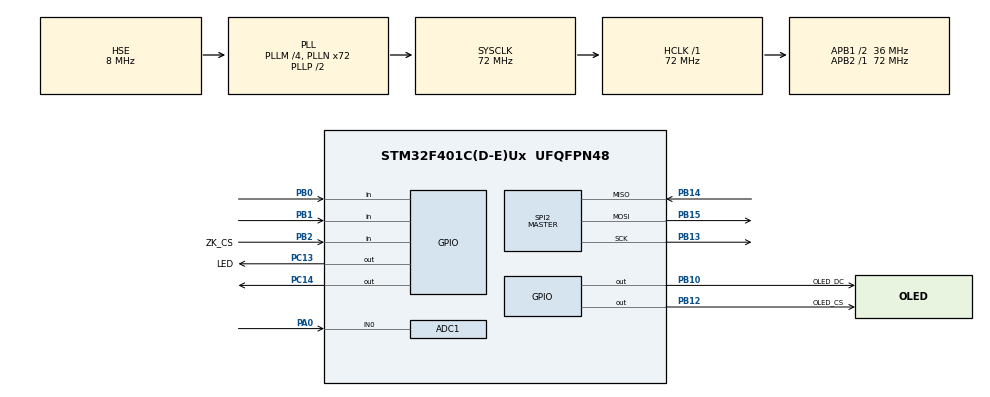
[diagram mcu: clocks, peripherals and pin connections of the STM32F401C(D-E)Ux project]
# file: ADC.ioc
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ADC1.Channel-0\#ChannelRegularConversion=ADC_CHANNEL_0
ADC1.ClockPrescaler=ADC_CLOCK_SYNC_PCLK_DIV4
ADC1.ContinuousConvMode=ENABLE
ADC1.EnableAnalogWatchDog=true
ADC1.HighThreshold=4090
ADC1.NbrOfConversion=1
ADC1.NbrOfConversionFlag=1
ADC1.Rank-0\#ChannelRegularConversion=1
ADC1.Resolution=ADC_RESOLUTION_12B
ADC1.SamplingTime-0\#ChannelRegularConversion=ADC_SAMPLETIME_3CYCLES
ADC1.ScanConvMode=DISABLE
ADC1.master=1
Mcu.Family=STM32F4
Mcu.Name=STM32F401C(D-E)Ux
Mcu.Package=UFQFPN48
NVIC.ADC_IRQn=true\:1\:0\:true\:false\:true\:true\:true
NVIC.PriorityGroup=NVIC_PRIORITYGROUP_4
NVIC.TIM3_IRQn=true\:0\:0\:true\:false\:true\:true\:true
PA0-WKUP.Signal=SharedAnalog_PA0
PA13.Mode=Serial_Wire
PA13.Signal=SYS_JTMS-SWDIO
PA14.Mode=Serial_Wire
PA14.Signal=SYS_JTCK-SWCLK
PB0.GPIO_PuPd=GPIO_PULLUP
PB0.Signal=GPIO_Input
PB1.GPIO_PuPd=GPIO_PULLUP
PB1.Signal=GPIO_Input
PB10.GPIO_Label=OLED_DC
PB10.Signal=GPIO_Output
PB12.GPIO_Label=OLED_CS
PB12.Signal=GPIO_Output
PB13.Mode=Full_Duplex_Master
PB13.Signal=SPI2_SCK
PB14.Mode=Full_Duplex_Master
PB14.Signal=SPI2_MISO
PB15.Mode=Full_Duplex_Master
PB15.Signal=SPI2_MOSI
PB2.GPIO_Label=ZK_CS
PB2.GPIO_PuPd=GPIO_PULLUP
PB2.Signal=GPIO_Input
PC13-ANTI_TAMP.GPIO_Label=LED
PC13-ANTI_TAMP.Signal=GPIO_Output
PC14-OSC32_IN.Signal=GPIO_Output
PH0\ -\ OSC_IN.Mode=HSE-External-Oscillator
PH0\ -\ OSC_IN.Signal=RCC_OSC_IN
PH1\ -\ OSC_OUT.Mode=HSE-External-Oscillator
PH1\ -\ OSC_OUT.Signal=RCC_OSC_OUT
ProjectManager.HeapSize=0x200
ProjectManager.StackSize=0x400
ProjectManager.TargetToolchain=Makefile
RCC.48MHZClocksFreq_Value=36000000
RCC.AHBFreq_Value=72000000
RCC.APB1CLKDivider=RCC_HCLK_DIV2
RCC.APB1Freq_Value=36000000
RCC.APB1TimFreq_Value=72000000
RCC.APB2Freq_Value=72000000
RCC.APB2TimFreq_Value=72000000
RCC.CortexFreq_Value=72000000
RCC.HCLKFreq_Value=72000000
RCC.HSE_VALUE=8000000
RCC.HSI_VALUE=16000000
RCC.LSE_VALUE=32768
RCC.PLLM=4
RCC.PLLN=72
RCC.PLLSourceVirtual=RCC_PLLSOURCE_HSE
RCC.SYSCLKFreq_VALUE=72000000
RCC.SYSCLKSource=RCC_SYSCLKSOURCE_PLLCLK
RCC.VCOOutputFreq_Value=144000000
SH.SharedAnalog_PA0.0=GPIO_Analog
SH.SharedAnalog_PA0.1=ADC1_IN0,IN0
SPI2.BaudRatePrescaler=SPI_BAUDRATEPRESCALER_4
SPI2.Direction=SPI_DIRECTION_2LINES
SPI2.Mode=SPI_MODE_MASTER
SPI2.VirtualType=VM_MASTER
VP_TIM3_VS_ClockSourceITR.Mode=TriggerSource_ITR0
board=custom

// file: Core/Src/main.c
/* USER CODE BEGIN Header */
/**
 ******************************************************************************
 * @file           : main.c
 * @brief          : Main program body
 ******************************************************************************
 * @attention
 *
 * Copyright (c) 2022 STMicroelectronics.
 * All rights reserved.
 *
 * This software is licensed under terms that can be found in the LICENSE file
 * in the root directory of this software component.
 * If no LICENSE file comes with this software, it is provided AS-IS.
 *
 ******************************************************************************
 */
/* USER CODE END Header */
#include "main.h"
#include "adc.h"
#include "spi.h"
#include "tim.h"
#include "gpio.h"

void SystemClock_Config(void);

/* USER CODE BEGIN 0 */
unsigned int Tone[] = {
    // /*do*/ 275, /*ra*/ 244, /*mi*/ 218, /*fa*/ 206, /*suo*/ 184, /*la*/ 184, /*si*/ 163};
    /*do*/ 274, /*ra*/ 244, /*mi*/ 218, /*fa*/ 206, /*suo*/ 183, /*la*/ 163, /*si*/ 145};

/* USER CODE END 0 */

int main(void)
{

  /* MCU Configuration--------------------------------------------------------*/

  /* Reset of all peripherals, Initializes the Flash interface and the Systick. */
  HAL_Init();

  /* Configure the system clock */
  SystemClock_Config();

  /* Initialize all configured peripherals */
  MX_GPIO_Init();
  MX_ADC1_Init();
  MX_SPI2_Init();
  MX_TIM3_Init();
  /* USER CODE BEGIN 2 */
  HAL_ADC_Start_IT(&hadc1);
  HAL_TIM_Base_Start_IT(&htim3);
  InitGraph();
  OLED_Rect1(0, 0, 127, 63);
  // OLED_Circle(25, 32, 20);
  // OLED_Circle(25, 32, 3);
  OLED_UpdateScreen();
  /* USER CODE END 2 */

  /* Infinite loop */
  /* USER CODE BEGIN WHILE */
  int i = 0;
  TIM3->PSC = 1000;
  while (1)
  {
    HAL_GPIO_TogglePin(GPIOC, GPIO_PIN_13);
    HAL_Delay(1);
    // OLED_Circle(25, 32, 20);
    // SetPointBuffer(0, 0, 1);
    for (int j = 0; j < 128; j++)
    {
      i = result;
      SetPointBuffer(j, i / 90, 1);
      OLED_UpdateScreen();
    }
    OLED_ClearScreen();
    /* USER CODE END WHILE */

  }
}

void SystemClock_Config(void)
{
  RCC_OscInitTypeDef RCC_OscInitStruct = {0};
  RCC_ClkInitTypeDef RCC_ClkInitStruct = {0};

  /** Configure the main internal regulator output voltage
   */
  __HAL_RCC_PWR_CLK_ENABLE();
  __HAL_PWR_VOLTAGESCALING_CONFIG(PWR_REGULATOR_VOLTAGE_SCALE2);
  /** Initializes the RCC Oscillators according to the specified parameters
   * in the RCC_OscInitTypeDef structure.
   */
  RCC_OscInitStruct.OscillatorType = RCC_OSCILLATORTYPE_HSE;
  RCC_OscInitStruct.HSEState = RCC_HSE_ON;
  RCC_OscInitStruct.PLL.PLLState = RCC_PLL_ON;
  RCC_OscInitStruct.PLL.PLLSource = RCC_PLLSOURCE_HSE;
  RCC_OscInitStruct.PLL.PLLM = 4;
  RCC_OscInitStruct.PLL.PLLN = 72;
  RCC_OscInitStruct.PLL.PLLP = RCC_PLLP_DIV2;
  RCC_OscInitStruct.PLL.PLLQ = 4;
  if (HAL_RCC_OscConfig(&RCC_OscInitStruct) != HAL_OK)
  {
    Error_Handler();
  }
  /** Initializes the CPU, AHB and APB buses clocks
   */
  RCC_ClkInitStruct.ClockType = RCC_CLOCKTYPE_HCLK | RCC_CLOCKTYPE_SYSCLK | RCC_CLOCKTYPE_PCLK1 | RCC_CLOCKTYPE_PCLK2;
  RCC_ClkInitStruct.SYSCLKSource = RCC_SYSCLKSOURCE_PLLCLK;
  RCC_ClkInitStruct.AHBCLKDivider = RCC_SYSCLK_DIV1;
  RCC_ClkInitStruct.APB1CLKDivider = RCC_HCLK_DIV2;
  RCC_ClkInitStruct.APB2CLKDivider = RCC_HCLK_DIV1;

  if (HAL_RCC_ClockConfig(&RCC_ClkInitStruct, FLASH_LATENCY_2) != HAL_OK)
  {
    Error_Handler();
  }
}

void Error_Handler(void)
{
  __disable_irq();
  while (1)
  {
  }
}
